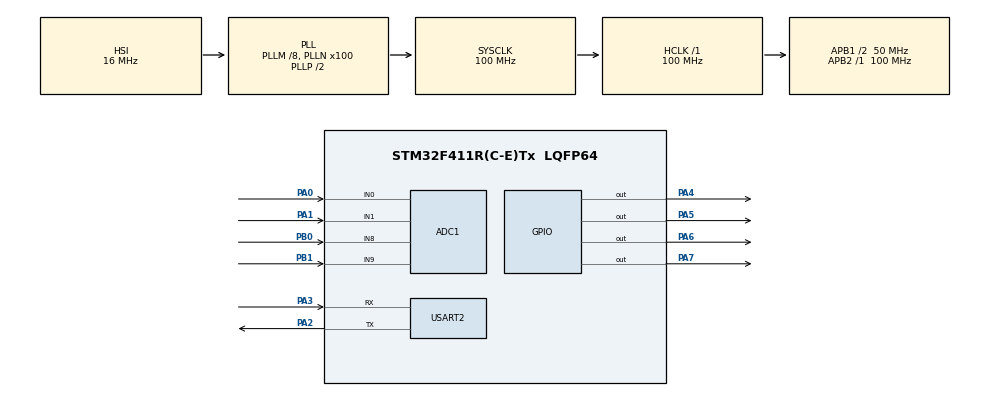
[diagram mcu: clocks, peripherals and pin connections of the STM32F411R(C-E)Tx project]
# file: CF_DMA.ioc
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ADC1.Channel-1\#ChannelRegularConversion=ADC_CHANNEL_0
ADC1.Channel-2\#ChannelRegularConversion=ADC_CHANNEL_1
ADC1.Channel-3\#ChannelRegularConversion=ADC_CHANNEL_8
ADC1.Channel-4\#ChannelRegularConversion=ADC_CHANNEL_9
ADC1.ContinuousConvMode=DISABLE
ADC1.DMAContinuousRequests=ENABLE
ADC1.ExternalTrigConv=ADC_EXTERNALTRIGCONV_T2_TRGO
ADC1.NbrOfConversion=4
ADC1.NbrOfConversionFlag=1
ADC1.Rank-1\#ChannelRegularConversion=1
ADC1.Rank-2\#ChannelRegularConversion=2
ADC1.Rank-3\#ChannelRegularConversion=3
ADC1.Rank-4\#ChannelRegularConversion=4
ADC1.SamplingTime-1\#ChannelRegularConversion=ADC_SAMPLETIME_480CYCLES
ADC1.SamplingTime-2\#ChannelRegularConversion=ADC_SAMPLETIME_480CYCLES
ADC1.SamplingTime-3\#ChannelRegularConversion=ADC_SAMPLETIME_480CYCLES
ADC1.SamplingTime-4\#ChannelRegularConversion=ADC_SAMPLETIME_480CYCLES
ADC1.master=1
Dma.ADC1.0.Direction=DMA_PERIPH_TO_MEMORY
Dma.ADC1.0.FIFOMode=DMA_FIFOMODE_DISABLE
Dma.ADC1.0.Instance=DMA2_Stream0
Dma.ADC1.0.MemDataAlignment=DMA_MDATAALIGN_WORD
Dma.ADC1.0.MemInc=DMA_MINC_ENABLE
Dma.ADC1.0.Mode=DMA_CIRCULAR
Dma.ADC1.0.PeriphDataAlignment=DMA_PDATAALIGN_WORD
Dma.ADC1.0.PeriphInc=DMA_PINC_DISABLE
Dma.ADC1.0.Priority=DMA_PRIORITY_HIGH
Dma.Request0=ADC1
Mcu.Family=STM32F4
Mcu.Name=STM32F411R(C-E)Tx
Mcu.Package=LQFP64
NVIC.ADC_IRQn=true\:0\:0\:false\:false\:true\:true\:true\:true
NVIC.DMA2_Stream0_IRQn=true\:0\:0\:false\:false\:true\:false\:true\:true
NVIC.PriorityGroup=NVIC_PRIORITYGROUP_4
PA0-WKUP.Signal=ADCx_IN0
PA1.Signal=ADCx_IN1
PA13.Mode=Serial_Wire
PA13.Signal=SYS_JTMS-SWDIO
PA14.Mode=Serial_Wire
PA14.Signal=SYS_JTCK-SWCLK
PA2.Mode=Asynchronous
PA2.Signal=USART2_TX
PA3.Mode=Asynchronous
PA3.Signal=USART2_RX
PA4.Signal=GPIO_Output
PA5.Signal=GPIO_Output
PA6.Signal=GPIO_Output
PA7.Signal=GPIO_Output
PB0.Signal=ADCx_IN8
PB1.Signal=ADCx_IN9
PH0\ -\ OSC_IN.Mode=HSE-External-Oscillator
PH0\ -\ OSC_IN.Signal=RCC_OSC_IN
PH1\ -\ OSC_OUT.Mode=HSE-External-Oscillator
PH1\ -\ OSC_OUT.Signal=RCC_OSC_OUT
ProjectManager.HeapSize=0x200
ProjectManager.StackSize=0x400
ProjectManager.TargetToolchain=CMake
RCC.48MHZClocksFreq_Value=50000000
RCC.AHBFreq_Value=100000000
RCC.APB1CLKDivider=RCC_HCLK_DIV2
RCC.APB1Freq_Value=50000000
RCC.APB1TimFreq_Value=100000000
RCC.APB2Freq_Value=100000000
RCC.APB2TimFreq_Value=100000000
RCC.CortexFreq_Value=100000000
RCC.HCLKFreq_Value=100000000
RCC.HSE_VALUE=25000000
RCC.HSI_VALUE=16000000
RCC.LSE_VALUE=32768
RCC.PLLM=8
RCC.PLLN=100
RCC.SYSCLKFreq_VALUE=100000000
RCC.SYSCLKSource=RCC_SYSCLKSOURCE_PLLCLK
RCC.VCOOutputFreq_Value=200000000
SH.ADCx_IN0.0=ADC1_IN0,IN0
SH.ADCx_IN1.0=ADC1_IN1,IN1
SH.ADCx_IN8.0=ADC1_IN8,IN8
SH.ADCx_IN9.0=ADC1_IN9,IN9
TIM2.Period=50000-1
TIM2.Prescaler=10000-1
TIM2.TIM_MasterOutputTrigger=TIM_TRGO_UPDATE
USART2.VirtualMode=VM_ASYNC
VP_TIM2_VS_ClockSourceINT.Mode=Internal
board=custom

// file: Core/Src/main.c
/* USER CODE BEGIN Header */
/**
  ******************************************************************************
  * @file           : main.c
  * @brief          : Main program body
  ******************************************************************************
  * @attention
  *
  * Copyright (c) 2026 STMicroelectronics.
  * All rights reserved.
  *
  * This software is licensed under terms that can be found in the LICENSE file
  * in the root directory of this software component.
  * If no LICENSE file comes with this software, it is provided AS-IS.
  *
  ******************************************************************************
  */
/* USER CODE END Header */
#include "main.h"
#include "adc.h"
#include "dma.h"
#include "tim.h"
#include "usart.h"
#include "gpio.h"

/* USER CODE BEGIN Includes */
#include <math.h>
#include <stdio.h>
#include "string.h"
#include "temp.h"
#include "hum.h"
#include "transmit.h"
/* USER CODE END Includes */

/* USER CODE BEGIN PV */
uint32_t adc[4];
volatile uint8_t interrupcion = 0;
uint32_t last_send = 0;

humsensor_t hum[4] = {
    { GPIOA, GPIO_PIN_4 },
    { GPIOA, GPIO_PIN_5 },
    { GPIOA, GPIO_PIN_6 },
    { GPIOA, GPIO_PIN_7 }
};

float hum_t[4] = {0};
float hum_h[4] = {0};
int8_t  hum_err[4] = {0};
uint32_t last_hum = 0;

/* USER CODE END PV */

void SystemClock_Config(void);

int main(void)
{

  /* MCU Configuration--------------------------------------------------------*/

  /* Reset of all peripherals, Initializes the Flash interface and the Systick. */
  HAL_Init();

  /* Configure the system clock */
  SystemClock_Config();

  /* Initialize all configured peripherals */
  MX_GPIO_Init();
  MX_DMA_Init();
  MX_ADC1_Init();
  MX_USART2_UART_Init();
  MX_TIM2_Init();
  /* USER CODE BEGIN 2 */
  DHT11_Init();
  HAL_ADC_Start_DMA(&hadc1, (uint32_t*)adc, 4);
  HAL_TIM_Base_Start(&htim2);

  /* USER CODE END 2 */

  /* Infinite loop */
  while (1)
  {

    /* USER CODE BEGIN 3 */

if (HAL_GetTick() - last_send >= 1000)
{
    last_send = HAL_GetTick();

    temp_t temperaturas = getTemp(adc);

      if (HAL_GetTick() - last_hum >= 2000) {
        last_hum = HAL_GetTick();
        for (uint8_t i = 0; i < 4; i++) {
            float t, h;
            hum_err[i] = DHT11_ReadValues(&hum[i], &t, &h);
            if (hum_err[i] == 0) {
                hum_t[i] = t;
                hum_h[i] = h;
            }
        }
      }

    static const char *nombres[4] = { "S01", "S02", "S03", "S04"};

for (uint8_t i = 0; i < 4; i++)
{
    int temp_x100 = (int)temperaturas.tempRead[i];
    int hum_x10   = (int)(hum_h[i] * 10.0f + 0.5f);

    enviar_medicion("C01", nombres[i], temp_x100, hum_x10);
}
  }
  /* USER CODE END 3 */
}

}
void SystemClock_Config(void)
{
  RCC_OscInitTypeDef RCC_OscInitStruct = {0};
  RCC_ClkInitTypeDef RCC_ClkInitStruct = {0};

  /** Configure the main internal regulator output voltage
  */
  __HAL_RCC_PWR_CLK_ENABLE();
  __HAL_PWR_VOLTAGESCALING_CONFIG(PWR_REGULATOR_VOLTAGE_SCALE1);

  /** Initializes the RCC Oscillators according to the specified parameters
  * in the RCC_OscInitTypeDef structure.
  */
  RCC_OscInitStruct.OscillatorType = RCC_OSCILLATORTYPE_HSI;
  RCC_OscInitStruct.HSIState = RCC_HSI_ON;
  RCC_OscInitStruct.HSICalibrationValue = RCC_HSICALIBRATION_DEFAULT;
  RCC_OscInitStruct.PLL.PLLState = RCC_PLL_ON;
  RCC_OscInitStruct.PLL.PLLSource = RCC_PLLSOURCE_HSI;
  RCC_OscInitStruct.PLL.PLLM = 8;
  RCC_OscInitStruct.PLL.PLLN = 100;
  RCC_OscInitStruct.PLL.PLLP = RCC_PLLP_DIV2;
  RCC_OscInitStruct.PLL.PLLQ = 4;
  if (HAL_RCC_OscConfig(&RCC_OscInitStruct) != HAL_OK)
  {
    Error_Handler();
  }

  /** Initializes the CPU, AHB and APB buses clocks
  */
  RCC_ClkInitStruct.ClockType = RCC_CLOCKTYPE_HCLK|RCC_CLOCKTYPE_SYSCLK
                              |RCC_CLOCKTYPE_PCLK1|RCC_CLOCKTYPE_PCLK2;
  RCC_ClkInitStruct.SYSCLKSource = RCC_SYSCLKSOURCE_PLLCLK;
  RCC_ClkInitStruct.AHBCLKDivider = RCC_SYSCLK_DIV1;
  RCC_ClkInitStruct.APB1CLKDivider = RCC_HCLK_DIV2;
  RCC_ClkInitStruct.APB2CLKDivider = RCC_HCLK_DIV1;

  if (HAL_RCC_ClockConfig(&RCC_ClkInitStruct, FLASH_LATENCY_3) != HAL_OK)
  {
    Error_Handler();
  }
}

/* USER CODE BEGIN 4 */
void HAL_ADC_ConvCpltCallback(ADC_HandleTypeDef *hadc)
{
  if (hadc != NULL && hadc -> Instance == ADC1)
  {
    interrupcion = 1;
  }
}
/* USER CODE END 4 */

void Error_Handler(void)
{
  __disable_irq();
  while (1)
  {
  }
}
